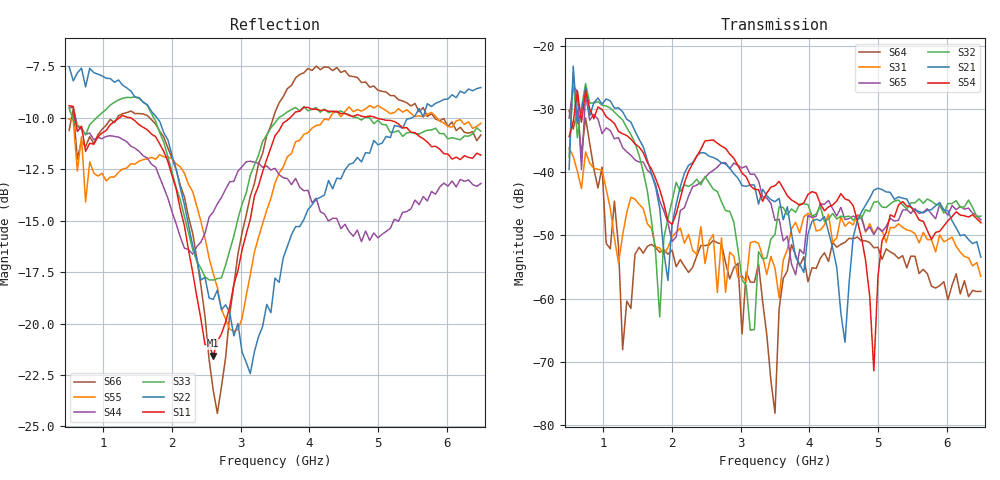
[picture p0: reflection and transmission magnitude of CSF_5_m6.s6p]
!Keysight Technologies,M9804A,MY58100912,A.14.10.03
!Date: Thursday, April 27, 2023 10:28:33
!Correction: S11(C  6-Port  )
!S12(C  6-Port  )
!S13(C  6-Port  )
!S14(C  6-Port  )
!S15(C  6-Port  )
!S16(C  6-Port  )
!S21(C  6-Port  )
!S22(C  6-Port  )
!S23(C  6-Port  )
!S24(C  6-Port  )
!S25(C  6-Port  )
!S26(C  6-Port  )
!S31(C  6-Port  )
!S32(C  6-Port  )
!S33(C  6-Port  )
!S34(C  6-Port  )
!S35(C  6-Port  )
!S36(C  6-Port  )
!S41(C  6-Port  )
!S42(C  6-Port  )
!S43(C  6-Port  )
!S44(C  6-Port  )
!S45(C  6-Port  )
!S46(C  6-Port  )
!S51(C  6-Port  )
!S52(C  6-Port  )
!S53(C  6-Port  )
!S54(C  6-Port  )
!S55(C  6-Port  )
!S56(C  6-Port  )
!S61(C  6-Port  )
!S62(C  6-Port  )
!S63(C  6-Port  )
!S64(C  6-Port  )
!S65(C  6-Port  )
!S66(C  6-Port  )
!S6P File: Measurement: :
# Hz S  RI  R 50
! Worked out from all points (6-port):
!   101 points, 500 MHz to 6.5 GHz, reference 50 ohm
!   strongest paths, dB at 500 MHz, 2 GHz, 3.5 GHz, 5 GHz, 6.5 GHz:
!     S54: -34.3, -48.3, -42.1, -56.6, -48.0
!     S21: -39.6, -48.3, -44.7, -42.5, -53.5
!     S32: -37.6, -44.5, -49.9, -44.6, -46.9
!     S65: -31.4, -51.0, -47.6, -48.7, -47.6
!     S31: -36.2, -50.2, -55.2, -48.8, -56.5
!     S64: -30.2, -52.3, -78.2, -51.9, -58.9
!   lowest |S11| = -21.6 dB at 2.6 GHz (marker M1), VSWR 1.18, Z = 42.6 + j2.11 ohm
!   |S11| at or under -10 dB: 587.5 MHz to 1.233 GHz (645.2 MHz wide, 70.9 % of centre); 1.401 GHz to 3.717 GHz (2.316 GHz wide, 90.5 % of centre); 4.975 GHz to end of sweep
